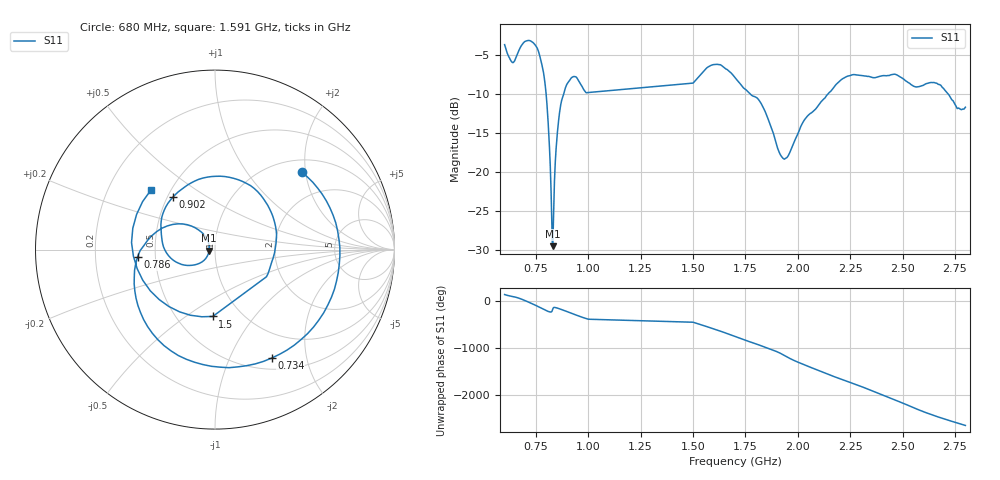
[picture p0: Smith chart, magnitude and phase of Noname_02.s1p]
!File created by NanoVNA
# Hz S RI R 50
!LO
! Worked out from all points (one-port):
!   402 points, 600 MHz to 2.8 GHz, reference 50 ohm
!   lowest |S11| = -29.6 dB at 830 MHz (marker M1), VSWR 1.07, Z = 46.8 - j0.537 ohm
!   |S11| at or under -10 dB: 798.3 MHz to 881.9 MHz (83.62 MHz wide, 9.95 % of centre); 1.774 GHz to 2.143 GHz (369.4 MHz wide, 18.9 % of centre); 2.718 GHz to end of sweep
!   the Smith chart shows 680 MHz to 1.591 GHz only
!   S11 on the Smith chart (normalised r, x): 680 MHz: 1.29, +1.92; 734 MHz: 0.64, -1.45; 786 MHz: 0.40, -0.04; 902 MHz: 0.53, +0.36; 1.5 GHz: 0.74, -0.64; 1.591 GHz: 0.39, +0.34
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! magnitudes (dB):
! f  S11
! 600 MHz  -3.6
! 638 MHz  -5.9
! 680 MHz  -3.8
! 734 MHz  -3.3
! 760 MHz  -4.4
! 786 MHz  -7.3
! 808 MHz  -13.7
! 818 MHz  -19.2
! 826 MHz  -27.4
! 830 MHz  -29.6
! 840 MHz  -19.9
! 848 MHz  -16.3
! 862 MHz  -12.4
! 876 MHz  -10.5
! 902 MHz  -8.5
! 940 MHz  -7.8
! 992 MHz  -9.8
! 1.5 GHz  -8.6
! 1.591 GHz  -6.2
! 1.702 GHz  -7.9
! 1.825 GHz  -11.2
! 1.923 GHz  -18.0
! 1.981 GHz  -16.3
! 2.039 GHz  -13.0
! 2.254 GHz  -7.6
! 2.527 GHz  -8.5
! 2.67 GHz  -8.7
! 2.8 GHz  -11.7
